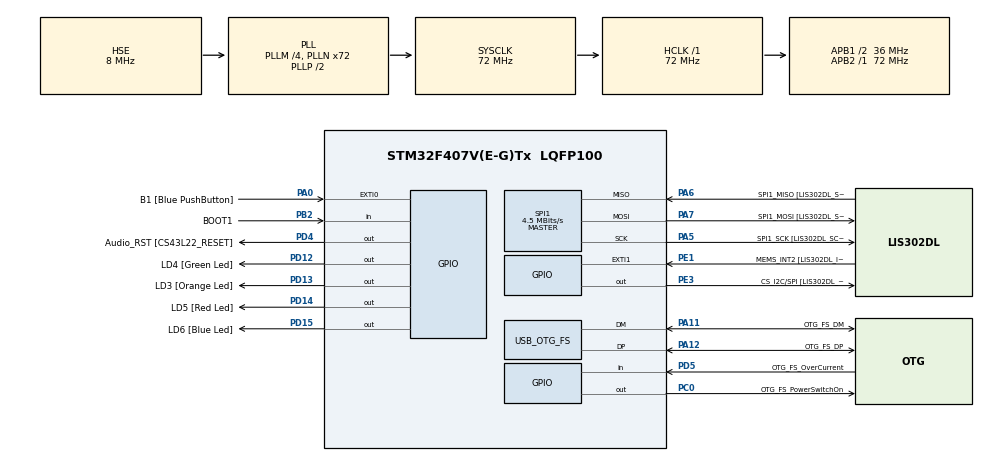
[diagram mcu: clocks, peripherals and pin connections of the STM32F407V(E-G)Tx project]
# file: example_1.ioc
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Mcu.Family=STM32F4
Mcu.Name=STM32F407V(E-G)Tx
Mcu.Package=LQFP100
NVIC.EXTI0_IRQn=true\:0\:0\:false\:false\:true\:true\:true\:true
NVIC.OTG_FS_IRQn=true\:0\:0\:false\:false\:true\:false\:true\:true
NVIC.PriorityGroup=NVIC_PRIORITYGROUP_0
PA0-WKUP.GPIO_Label=B1 [Blue PushButton]
PA0-WKUP.Signal=GPXTI0
PA10.GPIO_Label=OTG_FS_ID
PA10.GPIO_Mode=GPIO_MODE_AF_PP
PA10.GPIO_PuPd=GPIO_NOPULL
PA10.GPIO_Speed=GPIO_SPEED_FREQ_LOW
PA10.Signal=USB_OTG_FS_ID
PA11.GPIO_Label=OTG_FS_DM
PA11.GPIO_Mode=GPIO_MODE_AF_PP
PA11.GPIO_PuPd=GPIO_NOPULL
PA11.GPIO_Speed=GPIO_SPEED_FREQ_LOW
PA11.Mode=Device_Only
PA11.Signal=USB_OTG_FS_DM
PA12.GPIO_Label=OTG_FS_DP
PA12.GPIO_Mode=GPIO_MODE_AF_PP
PA12.GPIO_PuPd=GPIO_NOPULL
PA12.GPIO_Speed=GPIO_SPEED_FREQ_LOW
PA12.Mode=Device_Only
PA12.Signal=USB_OTG_FS_DP
PA13.GPIO_Label=SWDIO
PA13.Signal=SYS_JTMS-SWDIO
PA14.GPIO_Label=SWCLK
PA14.Signal=SYS_JTCK-SWCLK
PA4.GPIO_Label=I2S3_WS [CS43L22_LRCK]
PA4.GPIO_Mode=GPIO_MODE_AF_PP
PA4.GPIO_PuPd=GPIO_NOPULL
PA4.GPIO_Speed=GPIO_SPEED_FREQ_LOW
PA4.Signal=I2S3_WS
PA5.GPIO_Label=SPI1_SCK [LIS302DL_SCL/SPC]
PA5.GPIO_Mode=GPIO_MODE_AF_PP
PA5.GPIO_PuPd=GPIO_NOPULL
PA5.GPIO_Speed=GPIO_SPEED_FREQ_LOW
PA5.Mode=Full_Duplex_Master
PA5.Signal=SPI1_SCK
PA6.GPIO_Label=SPI1_MISO [LIS302DL_SDO]
PA6.GPIO_Mode=GPIO_MODE_AF_PP
PA6.GPIO_PuPd=GPIO_NOPULL
PA6.GPIO_Speed=GPIO_SPEED_FREQ_LOW
PA6.Mode=Full_Duplex_Master
PA6.Signal=SPI1_MISO
PA7.GPIO_Label=SPI1_MOSI [LIS302DL_SDA/SDI/SDO]
PA7.GPIO_Mode=GPIO_MODE_AF_PP
PA7.GPIO_PuPd=GPIO_NOPULL
PA7.GPIO_Speed=GPIO_SPEED_FREQ_LOW
PA7.Mode=Full_Duplex_Master
PA7.Signal=SPI1_MOSI
PA9.GPIO_Label=VBUS_FS
PA9.GPIO_Mode=GPIO_MODE_INPUT
PA9.GPIO_PuPd=GPIO_NOPULL
PA9.Signal=USB_OTG_FS_VBUS
PB10.GPIO_Label=CLK_IN [MP45DT02_CLK]
PB10.GPIO_Mode=GPIO_MODE_AF_PP
PB10.GPIO_PuPd=GPIO_NOPULL
PB10.GPIO_Speed=GPIO_SPEED_FREQ_LOW
PB10.Signal=I2S2_CK
PB2.GPIO_Label=BOOT1
PB2.GPIO_Mode=GPIO_MODE_INPUT
PB2.GPIO_PuPd=GPIO_NOPULL
PB2.Signal=GPIO_Input
PB3.GPIO_Label=SWO
PB3.Signal=SYS_JTDO-SWO
PB6.GPIO_Label=Audio_SCL [CS43L22_SCL]
PB6.GPIO_Mode=GPIO_MODE_AF_OD
PB6.GPIO_PuPd=GPIO_NOPULL
PB6.GPIO_Speed=GPIO_SPEED_FREQ_LOW
PB6.Signal=I2C1_SCL
PB9.GPIO_Label=Audio_SDA [CS43L22_SDA]
PB9.GPIO_Mode=GPIO_MODE_AF_OD
PB9.GPIO_PuPd=GPIO_NOPULL
PB9.GPIO_Speed=GPIO_SPEED_FREQ_LOW
PB9.Signal=I2C1_SDA
PC0.GPIO_Label=OTG_FS_PowerSwitchOn
PC0.GPIO_PuPd=GPIO_NOPULL
PC0.GPIO_Speed=GPIO_SPEED_FREQ_LOW
PC0.PinState=GPIO_PIN_SET
PC0.Signal=GPIO_Output
PC10.GPIO_Label=I2S3_SCK [CS43L22_SCLK]
PC10.GPIO_Mode=GPIO_MODE_AF_PP
PC10.GPIO_PuPd=GPIO_NOPULL
PC10.GPIO_Speed=GPIO_SPEED_FREQ_LOW
PC10.Signal=I2S3_CK
PC12.GPIO_Label=I2S3_SD [CS43L22_SDIN]
PC12.GPIO_Mode=GPIO_MODE_AF_PP
PC12.GPIO_PuPd=GPIO_NOPULL
PC12.GPIO_Speed=GPIO_SPEED_FREQ_LOW
PC12.Signal=I2S3_SD
PC14-OSC32_IN.GPIO_Label=PC14-OSC32_IN
PC14-OSC32_IN.Signal=RCC_OSC32_IN
PC15-OSC32_OUT.GPIO_Label=PC15-OSC32_OUT
PC15-OSC32_OUT.Signal=RCC_OSC32_OUT
PC3.GPIO_Label=PDM_OUT [MP45DT02_DOUT]
PC3.GPIO_Mode=GPIO_MODE_AF_PP
PC3.GPIO_PuPd=GPIO_NOPULL
PC3.GPIO_Speed=GPIO_SPEED_FREQ_LOW
PC3.Signal=I2S2_SD
PC7.GPIO_Label=I2S3_MCK [CS43L22_MCLK]
PC7.GPIO_Mode=GPIO_MODE_AF_PP
PC7.GPIO_PuPd=GPIO_NOPULL
PC7.GPIO_Speed=GPIO_SPEED_FREQ_LOW
PC7.Signal=I2S3_MCK
PD12.GPIO_Label=LD4 [Green Led]
PD12.GPIO_PuPd=GPIO_NOPULL
PD12.GPIO_Speed=GPIO_SPEED_FREQ_LOW
PD12.Signal=GPIO_Output
PD13.GPIO_Label=LD3 [Orange Led]
PD13.GPIO_PuPd=GPIO_NOPULL
PD13.GPIO_Speed=GPIO_SPEED_FREQ_LOW
PD13.Signal=GPIO_Output
PD14.GPIO_Label=LD5 [Red Led]
PD14.GPIO_PuPd=GPIO_NOPULL
PD14.GPIO_Speed=GPIO_SPEED_FREQ_LOW
PD14.Signal=GPIO_Output
PD15.GPIO_Label=LD6 [Blue Led]
PD15.GPIO_PuPd=GPIO_NOPULL
PD15.GPIO_Speed=GPIO_SPEED_FREQ_HIGH
PD15.PinState=GPIO_PIN_SET
PD15.Signal=GPIO_Output
PD4.GPIO_Label=Audio_RST [CS43L22_RESET]
PD4.GPIO_PuPd=GPIO_NOPULL
PD4.GPIO_Speed=GPIO_SPEED_FREQ_LOW
PD4.Signal=GPIO_Output
PD5.GPIO_Label=OTG_FS_OverCurrent
PD5.GPIO_Mode=GPIO_MODE_INPUT
PD5.GPIO_PuPd=GPIO_NOPULL
PD5.Signal=GPIO_Input
PE1.GPIO_Label=MEMS_INT2 [LIS302DL_INT2]
PE1.GPIO_ModeDefaultEXTI=GPIO_MODE_EVT_RISING
PE1.GPIO_PuPd=GPIO_NOPULL
PE1.Signal=GPXTI1
PE3.GPIO_Label=CS_I2C/SPI [LIS302DL_CS_I2C/SPI]
PE3.GPIO_PuPd=GPIO_NOPULL
PE3.GPIO_Speed=GPIO_SPEED_FREQ_LOW
PE3.PinState=GPIO_PIN_SET
PE3.Signal=GPIO_Output
PH0-OSC_IN.GPIO_Label=PH0-OSC_IN
PH0-OSC_IN.Mode=HSE-External-Oscillator
PH0-OSC_IN.Signal=RCC_OSC_IN
PH1-OSC_OUT.GPIO_Label=PH1-OSC_OUT
PH1-OSC_OUT.Mode=HSE-External-Oscillator
PH1-OSC_OUT.Signal=RCC_OSC_OUT
ProjectManager.HeapSize=0x200
ProjectManager.StackSize=0x400
ProjectManager.TargetToolchain=CMake
RCC.48MHZClocksFreq_Value=48000000
RCC.AHBFreq_Value=72000000
RCC.APB1CLKDivider=RCC_HCLK_DIV2
RCC.APB1Freq_Value=36000000
RCC.APB1TimFreq_Value=72000000
RCC.APB2Freq_Value=72000000
RCC.APB2TimFreq_Value=72000000
RCC.CortexFreq_Value=72000000
RCC.HCLKFreq_Value=72000000
RCC.HSE_VALUE=8000000
RCC.HSI_VALUE=16000000
RCC.LSE_VALUE=32768
RCC.PLLM=4
RCC.PLLN=72
RCC.PLLQ=3
RCC.SYSCLKFreq_VALUE=72000000
RCC.SYSCLKSource=RCC_SYSCLKSOURCE_PLLCLK
RCC.VCOOutputFreq_Value=144000000
SPI1.BaudRatePrescaler=SPI_BAUDRATEPRESCALER_16
SPI1.CLKPhase=SPI_PHASE_2EDGE
SPI1.CLKPolarity=SPI_POLARITY_HIGH
SPI1.CalculateBaudRate=4.5 MBits/s
SPI1.Direction=SPI_DIRECTION_2LINES
SPI1.Mode=SPI_MODE_MASTER
SPI1.VirtualType=VM_MASTER
USB_DEVICE.CLASS_NAME_FS=CDC
USB_DEVICE.VirtualMode-CDC_FS=Cdc
USB_DEVICE.VirtualModeFS=Cdc_FS
USB_OTG_FS.VirtualMode=Device_Only
VP_USB_DEVICE_VS_USB_DEVICE_CDC_FS.Mode=CDC_FS
board=STM32F407G-DISC1

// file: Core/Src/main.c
/* USER CODE BEGIN Header */
/**
  ******************************************************************************
  * @file           : main.c
  * @brief          : Main program body
  ******************************************************************************
  * @attention
  *
  * Copyright (c) 2026 STMicroelectronics.
  * All rights reserved.
  *
  * This software is licensed under terms that can be found in the LICENSE file
  * in the root directory of this software component.
  * If no LICENSE file comes with this software, it is provided AS-IS.
  *
  ******************************************************************************
  */
/* USER CODE END Header */
#include "main.h"
#include "usb_device.h"

/* USER CODE BEGIN Includes */

#include "usbd_cdc_if.h"

#include <lis3dsh.h>

/* USER CODE END Includes */

SPI_HandleTypeDef hspi1;

void        SystemClock_Config(void);
static void MX_GPIO_Init(void);
static void MX_SPI1_Init(void);

/* USER CODE BEGIN 0 */

#define LOOP_TIMEOUT 25

static volatile uint8_t SLEEPING = 0;

void LEDs_OFF()
{
  HAL_GPIO_WritePin(GPIOD, GPIO_PIN_12, GPIO_PIN_RESET);
  HAL_GPIO_WritePin(GPIOD, GPIO_PIN_13, GPIO_PIN_RESET);
  HAL_GPIO_WritePin(GPIOD, GPIO_PIN_14, GPIO_PIN_RESET);
  HAL_GPIO_WritePin(GPIOD, GPIO_PIN_15, GPIO_PIN_RESET);
}

/* USER CODE END 0 */

int main(void)
{

  /* MCU Configuration--------------------------------------------------------*/

  /* Reset of all peripherals, Initializes the Flash interface and the Systick. */
  HAL_Init();

  /* Configure the system clock */
  SystemClock_Config();

  /* Initialize all configured peripherals */
  MX_GPIO_Init();
  MX_USB_DEVICE_Init();
  MX_SPI1_Init();
  /* USER CODE BEGIN 2 */

  LEDs_OFF();

  // TODO: In practice we need to call init twice to make it stick. Figure
  //       out why. Maybe need to toggle chip first to "wake it up".

  LIS_Init(hspi1);
  HAL_Delay(100);
  LIS_Init(hspi1);
  HAL_Delay(500);

  LIS_Check_Status_USB();
  LIS_Debug_Log_USB();

  /* USER CODE END 2 */

  /* Infinite loop */
  /* USER CODE BEGIN WHILE */
  while (1)
  {
    if (SLEEPING)
    {
      // Sleep until interrupt. Blue pushbutton toggles this.
      HAL_SuspendTick();
      HAL_PWR_EnterSLEEPMode(PWR_MAINREGULATOR_ON, PWR_SLEEPENTRY_WFI);
      HAL_ResumeTick();
    }

    LIS_Read();
    LIS_Check_Status_USB();
    LIS_Debug_Log_USB();

#ifdef USB_BLINK
    {
      static uint8_t  TxBuffer[]  = "Toggling the blue LED.\r\n";
      static uint16_t TxBufferLen = sizeof(TxBuffer);

      // Send "blink" message over USB OTG VTC port.
      CDC_Transmit_FS(TxBuffer, TxBufferLen);
    }
#endif

    // Flash blue LED to show loop us running.
    HAL_GPIO_WritePin(GPIOD, GPIO_PIN_15, GPIO_PIN_SET);
    HAL_Delay(LOOP_TIMEOUT);
    HAL_GPIO_WritePin(GPIOD, GPIO_PIN_15, GPIO_PIN_RESET);
    HAL_Delay(LOOP_TIMEOUT);

    /* USER CODE END WHILE */

  }
}

void SystemClock_Config(void)
{
  RCC_OscInitTypeDef RCC_OscInitStruct = {0};
  RCC_ClkInitTypeDef RCC_ClkInitStruct = {0};

  /** Configure the main internal regulator output voltage
  */
  __HAL_RCC_PWR_CLK_ENABLE();
  __HAL_PWR_VOLTAGESCALING_CONFIG(PWR_REGULATOR_VOLTAGE_SCALE1);

  /** Initializes the RCC Oscillators according to the specified parameters
  * in the RCC_OscInitTypeDef structure.
  */
  RCC_OscInitStruct.OscillatorType = RCC_OSCILLATORTYPE_HSE;
  RCC_OscInitStruct.HSEState       = RCC_HSE_ON;
  RCC_OscInitStruct.PLL.PLLState   = RCC_PLL_ON;
  RCC_OscInitStruct.PLL.PLLSource  = RCC_PLLSOURCE_HSE;
  RCC_OscInitStruct.PLL.PLLM       = 4;
  RCC_OscInitStruct.PLL.PLLN       = 72;
  RCC_OscInitStruct.PLL.PLLP       = RCC_PLLP_DIV2;
  RCC_OscInitStruct.PLL.PLLQ       = 3;
  if (HAL_RCC_OscConfig(&RCC_OscInitStruct) != HAL_OK)
  {
    Error_Handler();
  }

  /** Initializes the CPU, AHB and APB buses clocks
  */
  RCC_ClkInitStruct.ClockType = RCC_CLOCKTYPE_HCLK | RCC_CLOCKTYPE_SYSCLK | RCC_CLOCKTYPE_PCLK1 | RCC_CLOCKTYPE_PCLK2;
  RCC_ClkInitStruct.SYSCLKSource   = RCC_SYSCLKSOURCE_PLLCLK;
  RCC_ClkInitStruct.AHBCLKDivider  = RCC_SYSCLK_DIV1;
  RCC_ClkInitStruct.APB1CLKDivider = RCC_HCLK_DIV2;
  RCC_ClkInitStruct.APB2CLKDivider = RCC_HCLK_DIV1;

  if (HAL_RCC_ClockConfig(&RCC_ClkInitStruct, FLASH_LATENCY_2) != HAL_OK)
  {
    Error_Handler();
  }
}

static void MX_SPI1_Init(void)
{

  /* SPI1 parameter configuration*/
  hspi1.Instance               = SPI1;
  hspi1.Init.Mode              = SPI_MODE_MASTER;
  hspi1.Init.Direction         = SPI_DIRECTION_2LINES;
  hspi1.Init.DataSize          = SPI_DATASIZE_8BIT;
  hspi1.Init.CLKPolarity       = SPI_POLARITY_HIGH;
  hspi1.Init.CLKPhase          = SPI_PHASE_2EDGE;
  hspi1.Init.NSS               = SPI_NSS_SOFT;
  hspi1.Init.BaudRatePrescaler = SPI_BAUDRATEPRESCALER_16;
  hspi1.Init.FirstBit          = SPI_FIRSTBIT_MSB;
  hspi1.Init.TIMode            = SPI_TIMODE_DISABLE;
  hspi1.Init.CRCCalculation    = SPI_CRCCALCULATION_DISABLE;
  hspi1.Init.CRCPolynomial     = 10;
  if (HAL_SPI_Init(&hspi1) != HAL_OK)
  {
    Error_Handler();
  }
}

static void MX_GPIO_Init(void)
{
  GPIO_InitTypeDef GPIO_InitStruct = {0};

  /* GPIO Ports Clock Enable */
  __HAL_RCC_GPIOE_CLK_ENABLE();
  __HAL_RCC_GPIOC_CLK_ENABLE();
  __HAL_RCC_GPIOH_CLK_ENABLE();
  __HAL_RCC_GPIOA_CLK_ENABLE();
  __HAL_RCC_GPIOB_CLK_ENABLE();
  __HAL_RCC_GPIOD_CLK_ENABLE();

  /*Configure GPIO pin Output Level */
  HAL_GPIO_WritePin(CS_I2C_SPI_GPIO_Port, CS_I2C_SPI_Pin, GPIO_PIN_SET);

  /*Configure GPIO pin Output Level */
  HAL_GPIO_WritePin(OTG_FS_PowerSwitchOn_GPIO_Port, OTG_FS_PowerSwitchOn_Pin, GPIO_PIN_SET);

  /*Configure GPIO pin Output Level */
  HAL_GPIO_WritePin(GPIOD, LD4_Pin | LD3_Pin | LD5_Pin | Audio_RST_Pin, GPIO_PIN_RESET);

  /*Configure GPIO pin Output Level */
  HAL_GPIO_WritePin(LD6_GPIO_Port, LD6_Pin, GPIO_PIN_SET);

  /*Configure GPIO pin : CS_I2C_SPI_Pin */
  GPIO_InitStruct.Pin   = CS_I2C_SPI_Pin;
  GPIO_InitStruct.Mode  = GPIO_MODE_OUTPUT_PP;
  GPIO_InitStruct.Pull  = GPIO_NOPULL;
  GPIO_InitStruct.Speed = GPIO_SPEED_FREQ_LOW;
  HAL_GPIO_Init(CS_I2C_SPI_GPIO_Port, &GPIO_InitStruct);

  /*Configure GPIO pin : OTG_FS_PowerSwitchOn_Pin */
  GPIO_InitStruct.Pin   = OTG_FS_PowerSwitchOn_Pin;
  GPIO_InitStruct.Mode  = GPIO_MODE_OUTPUT_PP;
  GPIO_InitStruct.Pull  = GPIO_NOPULL;
  GPIO_InitStruct.Speed = GPIO_SPEED_FREQ_LOW;
  HAL_GPIO_Init(OTG_FS_PowerSwitchOn_GPIO_Port, &GPIO_InitStruct);

  /*Configure GPIO pin : PDM_OUT_Pin */
  GPIO_InitStruct.Pin       = PDM_OUT_Pin;
  GPIO_InitStruct.Mode      = GPIO_MODE_AF_PP;
  GPIO_InitStruct.Pull      = GPIO_NOPULL;
  GPIO_InitStruct.Speed     = GPIO_SPEED_FREQ_LOW;
  GPIO_InitStruct.Alternate = GPIO_AF5_SPI2;
  HAL_GPIO_Init(PDM_OUT_GPIO_Port, &GPIO_InitStruct);

  /*Configure GPIO pin : B1_Pin */
  GPIO_InitStruct.Pin  = B1_Pin;
  GPIO_InitStruct.Mode = GPIO_MODE_IT_RISING;
  GPIO_InitStruct.Pull = GPIO_NOPULL;
  HAL_GPIO_Init(B1_GPIO_Port, &GPIO_InitStruct);

  /*Configure GPIO pin : I2S3_WS_Pin */
  GPIO_InitStruct.Pin       = I2S3_WS_Pin;
  GPIO_InitStruct.Mode      = GPIO_MODE_AF_PP;
  GPIO_InitStruct.Pull      = GPIO_NOPULL;
  GPIO_InitStruct.Speed     = GPIO_SPEED_FREQ_LOW;
  GPIO_InitStruct.Alternate = GPIO_AF6_SPI3;
  HAL_GPIO_Init(I2S3_WS_GPIO_Port, &GPIO_InitStruct);

  /*Configure GPIO pin : BOOT1_Pin */
  GPIO_InitStruct.Pin  = BOOT1_Pin;
  GPIO_InitStruct.Mode = GPIO_MODE_INPUT;
  GPIO_InitStruct.Pull = GPIO_NOPULL;
  HAL_GPIO_Init(BOOT1_GPIO_Port, &GPIO_InitStruct);

  /*Configure GPIO pin : CLK_IN_Pin */
  GPIO_InitStruct.Pin       = CLK_IN_Pin;
  GPIO_InitStruct.Mode      = GPIO_MODE_AF_PP;
  GPIO_InitStruct.Pull      = GPIO_NOPULL;
  GPIO_InitStruct.Speed     = GPIO_SPEED_FREQ_LOW;
  GPIO_InitStruct.Alternate = GPIO_AF5_SPI2;
  HAL_GPIO_Init(CLK_IN_GPIO_Port, &GPIO_InitStruct);

  /*Configure GPIO pins : LD4_Pin LD3_Pin LD5_Pin Audio_RST_Pin */
  GPIO_InitStruct.Pin   = LD4_Pin | LD3_Pin | LD5_Pin | Audio_RST_Pin;
  GPIO_InitStruct.Mode  = GPIO_MODE_OUTPUT_PP;
  GPIO_InitStruct.Pull  = GPIO_NOPULL;
  GPIO_InitStruct.Speed = GPIO_SPEED_FREQ_LOW;
  HAL_GPIO_Init(GPIOD, &GPIO_InitStruct);

  /*Configure GPIO pin : LD6_Pin */
  GPIO_InitStruct.Pin   = LD6_Pin;
  GPIO_InitStruct.Mode  = GPIO_MODE_OUTPUT_PP;
  GPIO_InitStruct.Pull  = GPIO_NOPULL;
  GPIO_InitStruct.Speed = GPIO_SPEED_FREQ_HIGH;
  HAL_GPIO_Init(LD6_GPIO_Port, &GPIO_InitStruct);

  /*Configure GPIO pins : I2S3_MCK_Pin I2S3_SCK_Pin I2S3_SD_Pin */
  GPIO_InitStruct.Pin       = I2S3_MCK_Pin | I2S3_SCK_Pin | I2S3_SD_Pin;
  GPIO_InitStruct.Mode      = GPIO_MODE_AF_PP;
  GPIO_InitStruct.Pull      = GPIO_NOPULL;
  GPIO_InitStruct.Speed     = GPIO_SPEED_FREQ_LOW;
  GPIO_InitStruct.Alternate = GPIO_AF6_SPI3;
  HAL_GPIO_Init(GPIOC, &GPIO_InitStruct);

  /*Configure GPIO pin : OTG_FS_OverCurrent_Pin */
  GPIO_InitStruct.Pin  = OTG_FS_OverCurrent_Pin;
  GPIO_InitStruct.Mode = GPIO_MODE_INPUT;
  GPIO_InitStruct.Pull = GPIO_NOPULL;
  HAL_GPIO_Init(OTG_FS_OverCurrent_GPIO_Port, &GPIO_InitStruct);

  /*Configure GPIO pins : Audio_SCL_Pin Audio_SDA_Pin */
  GPIO_InitStruct.Pin       = Audio_SCL_Pin | Audio_SDA_Pin;
  GPIO_InitStruct.Mode      = GPIO_MODE_AF_OD;
  GPIO_InitStruct.Pull      = GPIO_NOPULL;
  GPIO_InitStruct.Speed     = GPIO_SPEED_FREQ_LOW;
  GPIO_InitStruct.Alternate = GPIO_AF4_I2C1;
  HAL_GPIO_Init(GPIOB, &GPIO_InitStruct);

  /*Configure GPIO pin : MEMS_INT2_Pin */
  GPIO_InitStruct.Pin  = MEMS_INT2_Pin;
  GPIO_InitStruct.Mode = GPIO_MODE_EVT_RISING;
  GPIO_InitStruct.Pull = GPIO_NOPULL;
  HAL_GPIO_Init(MEMS_INT2_GPIO_Port, &GPIO_InitStruct);

  /* EXTI interrupt init*/
  HAL_NVIC_SetPriority(EXTI0_IRQn, 0, 0);
  HAL_NVIC_EnableIRQ(EXTI0_IRQn);

}

/* USER CODE BEGIN 4 */

void HAL_GPIO_EXTI_Callback(uint16_t GPIO_Pin)
{
  if (GPIO_Pin == GPIO_PIN_0)
  {
    SLEEPING = SLEEPING ? 0 : 1;
  }
}

/* USER CODE END 4 */

void Error_Handler(void)
{
  __disable_irq();
  while (1)
  {
  }
}
